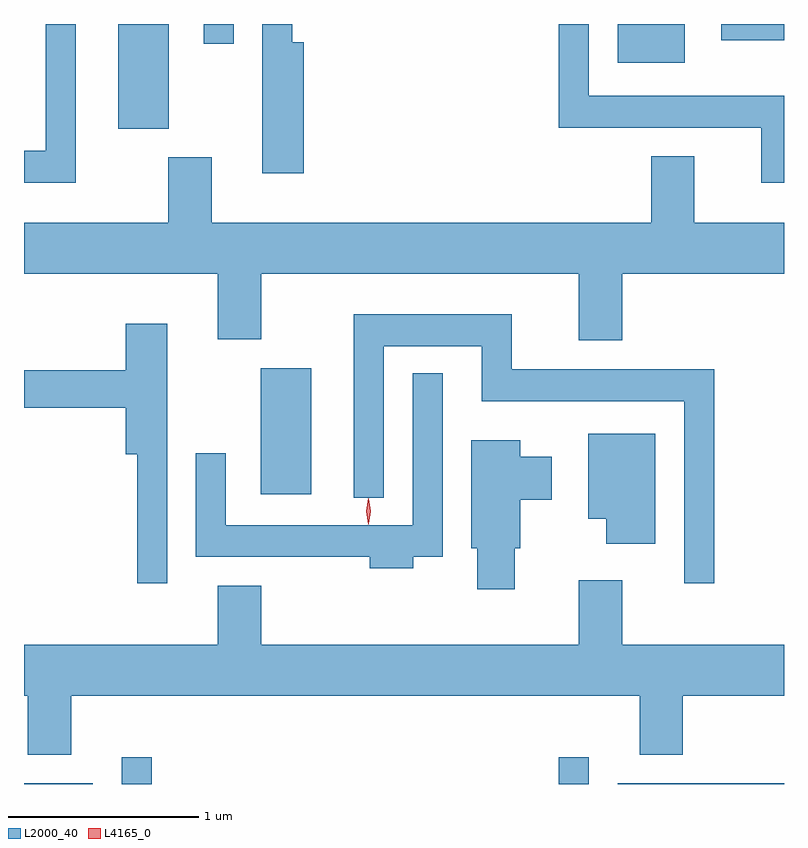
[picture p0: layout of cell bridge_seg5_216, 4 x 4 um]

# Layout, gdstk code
import gdstk
lib = gdstk.Library(unit=1e-6, precision=1e-09)
def R(c, l, rs):  # rectangles x0, y0, x1, y1
    for r in rs: c.add(gdstk.rectangle(r[:2], r[2:], *l))
def P(c, l, *ps):  # polygons
    for p in ps: c.add(gdstk.Polygon(p, *l))
L2000_40 = (2000, 40)
L4165_0 = (4165, 0)

bridge_seg5_216 = lib.new_cell('bridge_seg5_216')
R(bridge_seg5_216, L2000_40, [(1335.491,1427.471,1335.854,1427.474), (1336.006,1427.471,1336.164,1427.613), (1338.306,1427.471,1338.464,1427.613), (1338.616,1427.471,1339.491,1427.474), (1336.736,1428.996,1337.004,1429.659), (1335.986,1430.921,1336.254,1431.471), (1338.616,1431.266,1338.969,1431.471), (1336.436,1431.368,1336.594,1431.471), (1339.161,1431.386,1339.491,1431.471)])
P(bridge_seg5_216, L2000_40, [(1335.764,1431.471),(1335.606,1431.471),(1335.606,1430.804),(1335.491,1430.804),(1335.491,1430.636),(1335.764,1430.636)],
  [(1339.491,1431.094),(1338.464,1431.094),(1338.464,1431.471),(1338.306,1431.471),(1338.306,1430.926),(1339.371,1430.926),(1339.371,1430.636),(1339.491,1430.636)],
  [(1336.964,1431.374),(1336.904,1431.374),(1336.904,1431.471),(1336.746,1431.471),(1336.746,1430.686),(1336.964,1430.686)],
  [(1338.639,1430.156),(1339.491,1430.156),(1339.491,1430.424),(1339.019,1430.424),(1339.019,1430.774),(1338.791,1430.774),(1338.791,1430.424),(1336.479,1430.424),(1336.479,1430.769),(1336.251,1430.769),(1336.251,1430.424),(1335.491,1430.424),(1335.491,1430.156),(1336.511,1430.156),(1336.511,1429.811),(1336.739,1429.811),(1336.739,1430.156),(1338.411,1430.156),(1338.411,1429.806),(1338.639,1429.806)],
  [(1339.124,1429.654),(1338.059,1429.654),(1338.059,1429.944),(1337.226,1429.944),(1337.226,1428.978),(1337.384,1428.978),(1337.384,1429.776),(1337.901,1429.776),(1337.901,1429.486),(1338.966,1429.486),(1338.966,1428.528),(1339.124,1428.528)],
  [(1336.244,1429.894),(1336.026,1429.894),(1336.026,1429.649),(1335.491,1429.649),(1335.491,1429.451),(1336.026,1429.451),(1336.026,1429.206),(1336.086,1429.206),(1336.086,1428.528),(1336.244,1428.528)],
  [(1337.539,1428.666),(1337.694,1428.666),(1337.694,1429.633),(1337.536,1429.633),(1337.536,1428.834),(1336.554,1428.834),(1336.554,1429.213),(1336.396,1429.213),(1336.396,1428.666),(1337.311,1428.666),(1337.311,1428.606),(1337.539,1428.606)],
  [(1338.814,1429.314),(1338.461,1429.314),(1338.461,1428.866),(1338.556,1428.866),(1338.556,1428.736),(1338.814,1428.736)],
  [(1338.074,1428.711),(1338.104,1428.711),(1338.104,1428.966),(1338.269,1428.966),(1338.269,1429.194),(1338.104,1429.194),(1338.104,1429.279),(1337.846,1429.279),(1337.846,1428.711),(1337.876,1428.711),(1337.876,1428.496),(1338.074,1428.496)],
  [(1335.739,1427.936),(1338.731,1427.936),(1338.731,1427.626),(1338.959,1427.626),(1338.959,1427.936),(1339.491,1427.936),(1339.491,1428.204),(1338.639,1428.204),(1338.639,1428.544),(1338.411,1428.544),(1338.411,1428.204),(1336.739,1428.204),(1336.739,1428.514),(1336.511,1428.514),(1336.511,1428.204),(1335.491,1428.204),(1335.491,1427.936),(1335.511,1427.936),(1335.511,1427.626),(1335.739,1427.626)])
P(bridge_seg5_216, L4165_0, [(1337.305,1428.839),(1337.305,1428.84),(1337.295,1428.906),(1337.304,1428.972),(1337.305,1428.973),(1337.305,1428.972),(1337.315,1428.906),(1337.306,1428.84)],
  [(1337.302,1428.837),(1337.302,1428.838),(1337.292,1428.907),(1337.302,1428.976),(1337.302,1428.976),(1337.303,1428.976),(1337.312,1428.907),(1337.303,1428.838)])

lib.write_gds('bridge_seg5_216.gds')
